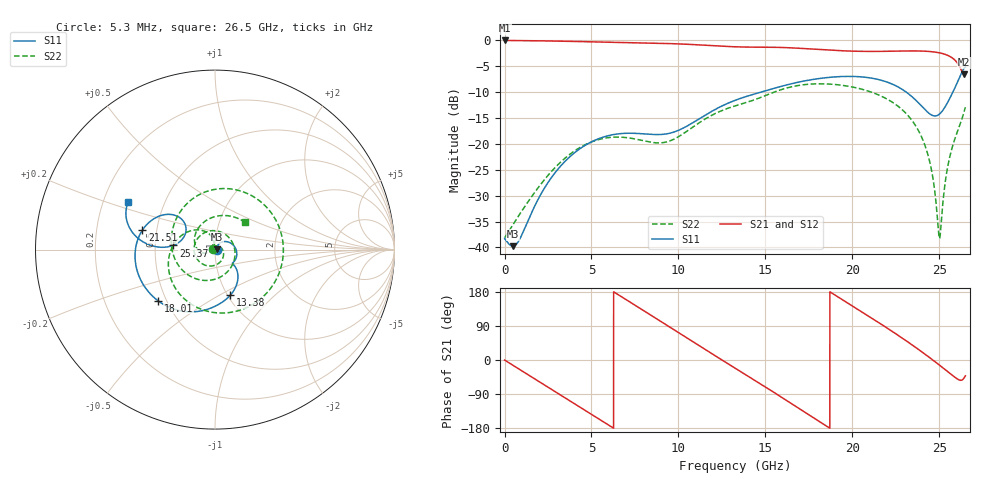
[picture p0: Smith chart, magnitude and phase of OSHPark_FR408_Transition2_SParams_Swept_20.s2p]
! TOUCHSTONE file generated by CST MICROWAVE STUDIO
! Date and time: Tue Jan  7 09:43:32 2020
! Project name: OSHPark_FR408_Transition2.cst
! Parameters = {GND_Plane_XMax=12.75; Cap_Disk_XOffset=0; Cap_Disk2_YCenter=-1.03; Cap_Disk_YCenter=1.03; Cap_Disk_XCenter=7.39; Cap_Disk_Radius=0.5; BottomSupport_Left_YMax=4.76; BottomSupport_Left_YMin=3.74; BottomSupport_Right_YMax=-3.74; BottomSupport_Right_YMin=-4.76; BottomSupport_XMax=11.64; 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
! Header version: 2015
! Port assignment regex: !\s*Touchstone port\s*([0-9]+)\s*=\s*CST MWS port\s*([0-9]+)\s*\(\"(.*)\"\)(\s*mode\s*([0-9]+))?.*
! Touchstone port assignment:
! Touchstone port 1 = CST MWS port 1 ("")
! Touchstone port 2 = CST MWS port 2 ("")
# GHz S MA R 50
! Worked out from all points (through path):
!   5000 points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, 5.3 MHz to 26.5 GHz, reference 50 ohm
!   highest |S21| = 0.00 dB at 5.3 MHz (marker M1); lowest = -6.5 dB at 26.43 GHz (marker M2)
!   group delay of S21, straight-line fit = 81 ps
!   lowest |S11| = -39.8 dB at 477 MHz (marker M3), VSWR 1.02, Z = 51 + j0.0897 ohm
!   |S11| at or under -10 dB: start of sweep to 14.72 GHz; 23.11 GHz to 25.78 GHz (2.673 GHz wide, 10.9 % of centre)
!   |S22| runs from -38.3 to -8.4 dB; largest |S21 - S12| = 0
!   S11 on the Smith chart (normalised r, x): 5.3 MHz: 1.02, -0.01; 13.38 GHz: 1.03, -0.56; 18.01 GHz: 0.45, -0.31; 21.51 GHz: 0.42, +0.11; 25.37 GHz: 0.62, +0.03; 26.5 GHz: 0.31, +0.24
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0.0053  0.01221 -24.0  0.9999 -0.2  0.9999 -0.2  0.01244 153.8
0.477  0.01028 4.9  0.9985 -13.7  0.9985 -13.7  0.01656 111.2
2.5493  0.04359 53.8  0.9888 -73.2  0.9888 -73.2  0.05079 -20.5
4.4255  0.09203 24.6  0.9748 -127.1  0.9748 -127.1  0.09413 -103.4
6.5508  0.1252 -14.0  0.9576 172.0  0.9576 172.0  0.1165 169.8
8.8404  0.1231 -38.0  0.94 106.0  0.94 106.0  0.1023 52.8
10.0117  0.1356 -39.4  0.9262 72.0  0.9262 72.0  0.1177 -20.2
11.2996  0.1794 -45.6  0.904 34.5  0.904 34.5  0.1645 -89.4
13.2553  0.2637 -69.9  0.8684 -21.2  0.8684 -21.2  0.2329 -171.4
13.3825  0.2686 -71.7  0.867 -24.8  0.867 -24.8  0.2364 -176.0
15.5661  0.3472 -101.6  0.8588 -87.7  0.8588 -87.7  0.3196 105.1
17.6702  0.4182 -132.8  0.8258 -149.9  0.8258 -149.9  0.3794 14.8
18.0147  0.4268 -138.2  0.8188 -160.0  0.8188 -160.0  0.3811 -0.3
19.7425  0.4495 -165.8  0.7907 150.2  0.7907 150.2  0.3615 -74.1
21.5127  0.4187 165.0  0.7839 98.8  0.7839 98.8  0.2972 -144.6
22.0851  0.3912 155.8  0.7862 81.8  0.7862 81.8  0.2662 -166.7
24.0938  0.2219 139.3  0.7888 18.2  0.7888 18.2  0.1053 114.8
24.5708  0.1897 149.1  0.7785 1.9  0.7785 1.9  0.05372 98.6
24.9948  0.1935 163.8  0.7597 -13.0  0.7597 -13.0  0.01236 143.9
25.3711  0.2337 174.2  0.73 -26.6  0.73 -26.6  0.04649 -155.7
26.4258  0.5394 156.9  0.472 -47.0  0.472 -47.0  0.2048 66.0
26.5  0.5517 150.5  0.4908 -41.8  0.4908 -41.8  0.2268 41.1
